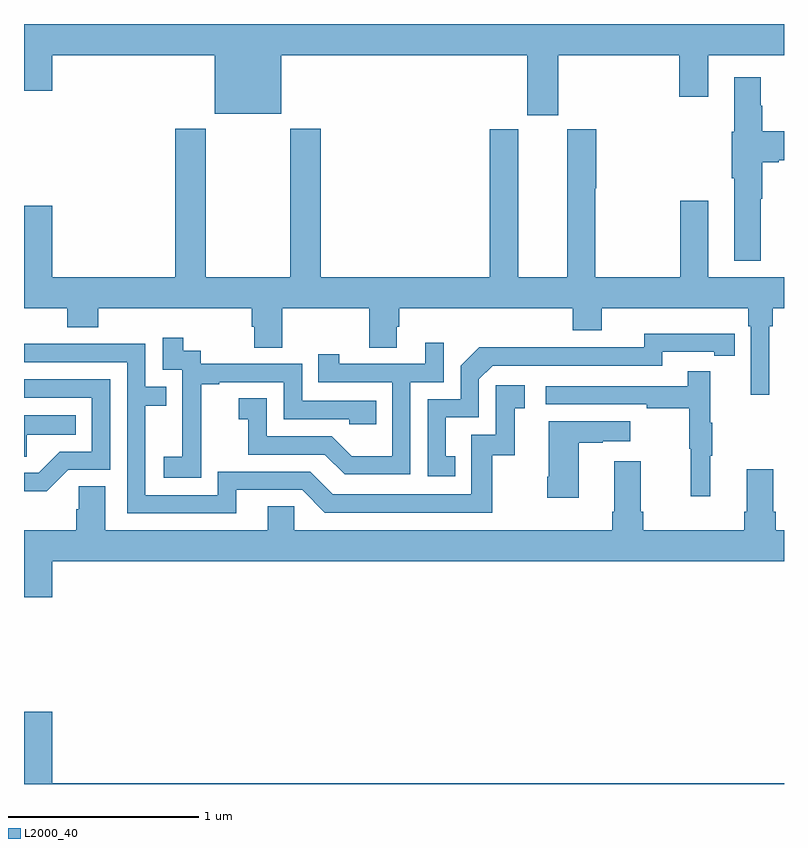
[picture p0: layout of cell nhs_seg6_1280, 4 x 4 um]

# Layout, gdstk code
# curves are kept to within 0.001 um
import gdstk
lib = gdstk.Library(unit=1e-6, precision=1e-09)
def P(c, l, *ps):  # polygons
    for p in ps: c.add(gdstk.Polygon(p, *l))
L2000_40 = (2000, 40)

nhs_seg6_1280 = lib.new_cell('nhs_seg6_1280')
P(nhs_seg6_1280, L2000_40, [(189,947.148),(189.148,947.148),(189.148,947.336),(190.004,947.336),(190.004,947.027),(190.354,947.027),(190.354,947.336),(191.648,947.336),(191.648,947.019),(191.812,947.019),(191.812,947.336),(192.449,947.336),(192.449,947.118),(192.601,947.118),(192.601,947.336),(193,947.336),(193,947.5),(189,947.5)],
  [(192.877,946.579),(192.885,946.579),(192.885,946.772),(192.973,946.772),(192.973,946.784),(193,946.784),(193,946.936),(192.885,946.936),(192.885,947.07),(192.877,947.07),(192.877,947.221),(192.737,947.221),(192.737,946.932),(192.725,946.932),(192.725,946.688),(192.737,946.688),(192.737,946.253),(192.877,946.253)],
  [(189.957,946.948),(189.797,946.948),(189.797,946.168),(189.148,946.168),(189.148,946.543),(189,946.543),(189,946.004),(189.227,946.004),(189.227,945.905),(189.392,945.905),(189.392,946.004),(190.199,946.004),(190.199,945.906),(190.211,945.906),(190.211,945.796),(190.359,945.796),(190.359,946.004),(190.816,946.004),(190.816,945.796),(190.963,945.796),(190.963,945.906),(190.976,945.906),(190.976,946.004),(191.888,946.004),(191.888,945.887),(192.04,945.887),(192.04,946.004),(192.812,946.004),(192.812,945.908),(192.825,945.908),(192.825,945.549),(192.922,945.549),(192.922,945.908),(192.941,945.908),(192.941,946.004),(193,946.004),(193,946.168),(192.601,946.168),(192.601,946.57),(192.454,946.57),(192.454,946.168),(192.006,946.168),(192.006,946.635),(192.011,946.635),(192.011,946.947),(191.858,946.947),(191.858,946.168),(191.602,946.168),(191.602,946.947),(191.45,946.947),(191.45,946.168),(190.562,946.168),(190.562,946.948),(190.402,946.948),(190.402,946.168),(189.957,946.168)],
  [(191.27,945.225),(191.221,945.225),(191.221,945.429),(191.394,945.429),(191.394,945.63),(191.466,945.702),(192.36,945.702),(192.36,945.774),(192.632,945.774),(192.632,945.754),(192.74,945.754),(192.74,945.87),(192.264,945.871),(192.264,945.798),(191.804,945.798),(191.804,945.8),(191.396,945.8),(191.298,945.702),(191.298,945.525),(191.124,945.525),(191.124,945.12),(191.27,945.12)],
  [(189.933,945.319),(189.932,945.319),(189.932,945.603),(190.027,945.603),(190.027,945.615),(190.368,945.615),(190.368,945.42),(190.713,945.42),(190.713,945.393),(190.853,945.393),(190.853,945.516),(190.464,945.516),(190.464,945.711),(189.93,945.711),(189.93,945.78),(189.838,945.78),(189.838,945.85),(189.729,945.85),(189.729,945.681),(189.834,945.681),(189.834,945.452),(189.833,945.452),(189.833,945.223),(189.735,945.223),(189.735,945.113),(189.933,945.113)],
  [(191.034,945.615),(191.208,945.615),(191.208,945.823),(191.111,945.823),(191.111,945.711),(190.66,945.711),(190.66,945.763),(190.549,945.763),(190.549,945.615),(190.938,945.615),(190.938,945.226),(190.724,945.226),(190.62,945.33),(190.278,945.33),(190.278,945.529),(190.131,945.529),(190.131,945.419),(190.18,945.419),(190.18,945.234),(190.583,945.234),(190.688,945.129),(191.034,945.129)],
  [(190.117,945.048),(190.464,945.048),(190.584,944.928),(191.464,944.928),(191.464,945.231),(191.582,945.231),(191.582,945.477),(191.635,945.477),(191.635,945.598),(191.484,945.598),(191.484,945.339),(191.355,945.339),(191.355,945.024),(190.626,945.024),(190.506,945.144),(190.02,945.144),(190.02,945.021),(189.639,945.021),(189.639,945.49),(189.749,945.49),(189.749,945.591),(189.639,945.591),(189.639,945.816),(189.143,945.816),(189.143,945.818),(189,945.818),(189,945.72),(189.543,945.72),(189.543,944.925),(190.117,944.925)],
  [(192.611,945.227),(192.622,945.227),(192.622,945.401),(192.611,945.401),(192.611,945.673),(192.493,945.673),(192.493,945.594),(191.745,945.594),(191.745,945.498),(192.277,945.498),(192.277,945.478),(192.501,945.478),(192.501,945.264),(192.508,945.264),(192.508,945.015),(192.611,945.015)],
  [(189.234,945.153),(189.453,945.153),(189.453,945.63),(189,945.63),(189,945.534),(189.357,945.534),(189.357,945.249),(189.188,945.249),(189.077,945.138),(189,945.138),(189,945.041),(189.121,945.041)],
  [(189.015,945.338),(189.272,945.338),(189.272,945.442),(189,945.442),(189,945.223),(189.015,945.223)],
  [(191.92,945.295),(192.047,945.295),(192.047,945.305),(192.19,945.305),(192.19,945.409),(191.762,945.409),(191.762,945.118),(191.755,945.118),(191.755,945.006),(191.92,945.006)],
  [(189.148,944.672),(193,944.672),(193,944.836),(192.956,944.836),(192.956,944.932),(192.943,944.932),(192.943,945.157),(192.803,945.157),(192.803,944.932),(192.791,944.932),(192.791,944.836),(192.26,944.836),(192.26,944.932),(192.247,944.932),(192.247,945.199),(192.107,945.199),(192.107,944.932),(192.095,944.932),(192.095,944.836),(190.422,944.836),(190.422,944.963),(190.283,944.963),(190.283,944.836),(189.427,944.836),(189.427,945.068),(189.288,945.068),(189.288,944.945),(189.275,944.945),(189.275,944.836),(189,944.836),(189,944.484),(189.148,944.484)],
  [(193,943.504),(189.148,943.504),(189.148,943.879),(189,943.879),(189,943.5),(193,943.5)])

lib.write_gds('nhs_seg6_1280.gds')
